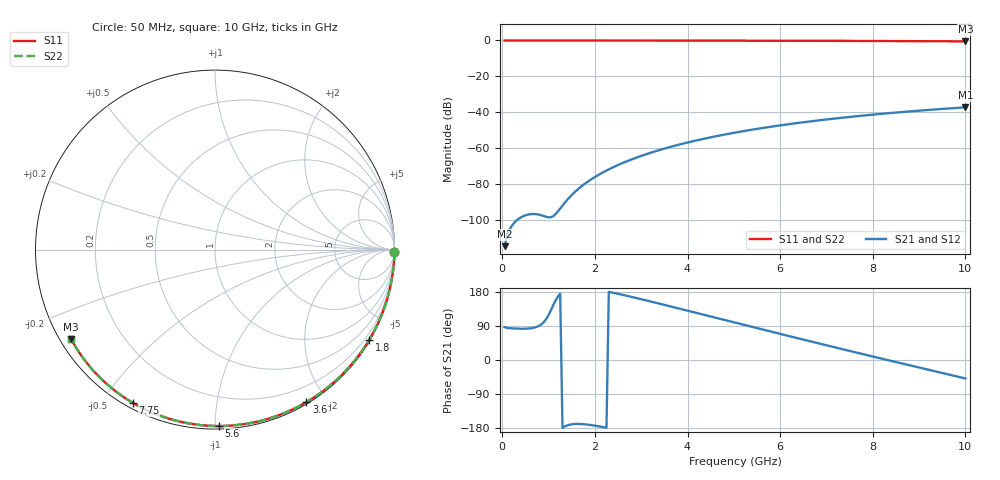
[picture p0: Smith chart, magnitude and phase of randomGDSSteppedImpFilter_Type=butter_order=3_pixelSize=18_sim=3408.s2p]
! freq	dB(S11)	phase(S11)	dB(S12)	phase(S12)
!  dB(S21)	phase(S21)	dB(S22)	phase(S22)
!S-par simulation data
#  GHz  S  DB  R 50
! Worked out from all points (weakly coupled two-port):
!   200 points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, 50 MHz to 10 GHz, reference 50 ohm
!   highest |S21| = -37.23 dB at 10 GHz (marker M1); lowest = -114.5 dB at 50 MHz (marker M2)
!   lowest |S11| = -0.5 dB at 10 GHz (marker M3), VSWR 34.73, Z = 1.56 - j14.3 ohm
!   |S11| at or under -10 dB: nowhere
!   |S22| runs from -0.5 to 0.0 dB; largest |S21 - S12| = 0
!   S11 on the Smith chart (normalised r, x): 50 MHz: open; 1.8 GHz: 0.03, -3.70; 3.6 GHz: 0.02, -1.76; 5.6 GHz: 0.02, -1.02; 7.75 GHz: 0.02, -0.60; 10 GHz: 0.03, -0.29
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0.05  -0.00 -0.9  -114.53 86.7  -114.53 86.7  -0.00 -0.9
0.45  -0.01 -7.7  -97.85 82.5  -97.85 82.5  -0.01 -7.7
0.9  -0.02 -15.3  -97.79 100.5  -97.79 100.5  -0.02 -15.4
1.3  -0.03 -22.0  -91.92 -179.4  -91.92 -179.4  -0.03 -22.1
1.75  -0.04 -29.5  -80.41 -169.4  -80.41 -169.4  -0.04 -29.7
1.8  -0.04 -30.3  -79.45 -169.9  -79.45 -169.9  -0.04 -30.5
1.95  -0.04 -32.7  -76.82 -172.3  -76.82 -172.3  -0.04 -33.0
2.1  -0.04 -35.2  -74.51 -175.4  -74.51 -175.4  -0.05 -35.4
2.3  -0.05 -38.5  -71.76 179.9  -71.76 179.9  -0.05 -38.7
2.5  -0.05 -41.7  -69.34 174.6  -69.34 174.6  -0.05 -42.0
2.9  -0.06 -48.1  -65.19 163.3  -65.19 163.3  -0.06 -48.4
3.4  -0.07 -56.0  -60.95 148.5  -60.95 148.5  -0.08 -56.3
3.6  -0.08 -59.1  -59.47 142.4  -59.47 142.4  -0.08 -59.4
4.3  -0.10 -69.7  -55.02 121.0  -55.02 121.0  -0.10 -70.1
5.05  -0.12 -80.8  -51.19 97.9  -51.19 97.9  -0.13 -81.3
5.6  -0.15 -88.7  -48.82 81.1  -48.82 81.1  -0.15 -89.2
6.15  -0.17 -96.5  -46.74 64.4  -46.74 64.4  -0.17 -97.0
6.7  -0.20 -104.1  -44.90 47.8  -44.90 47.8  -0.20 -104.6
7.75  -0.27 -118.3  -41.92 16.5  -41.92 16.5  -0.28 -118.7
8.35  -0.32 -126.2  -40.47 -1.0  -40.47 -1.0  -0.33 -126.6
9.2  -0.41 -137.4  -38.68 -25.7  -38.68 -25.7  -0.41 -137.8
10  -0.50 -148.1  -37.23 -48.6  -37.23 -48.6  -0.50 -148.3
